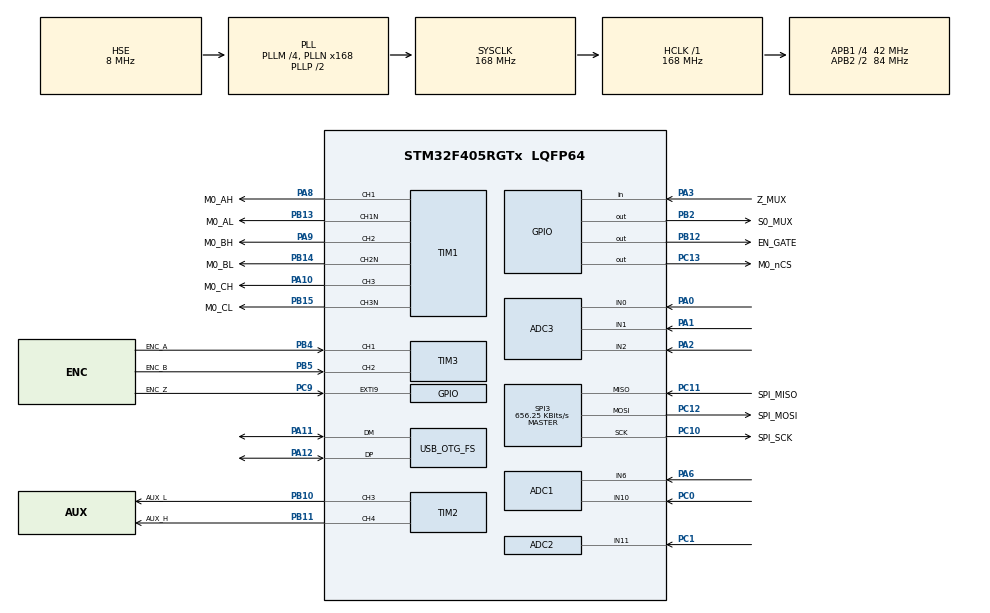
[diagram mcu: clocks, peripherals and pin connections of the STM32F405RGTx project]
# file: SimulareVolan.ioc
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ADC1.Channel-1\#ChannelRegularConversion=ADC_CHANNEL_10
ADC1.Channel-3\#ChannelInjectedConversion=ADC_CHANNEL_10
ADC1.Channel-4\#ChannelInjectedConversion=ADC_CHANNEL_6
ADC1.ExternalTrigInjecConv=ADC_EXTERNALTRIGINJECCONV_T1_TRGO
ADC1.InjNumberOfConversion=2
ADC1.InjectedOffset-3\#ChannelInjectedConversion=0
ADC1.InjectedOffset-4\#ChannelInjectedConversion=0
ADC1.InjectedRank-3\#ChannelInjectedConversion=1
ADC1.InjectedRank-4\#ChannelInjectedConversion=2
ADC1.Mode=ADC_DUALMODE_INJECSIMULT
ADC1.NbrOfConversionFlag=1
ADC1.Rank-1\#ChannelRegularConversion=1
ADC1.SamplingTime-1\#ChannelRegularConversion=ADC_SAMPLETIME_3CYCLES
ADC1.SamplingTime-3\#ChannelInjectedConversion=ADC_SAMPLETIME_15CYCLES
ADC1.SamplingTime-4\#ChannelInjectedConversion=ADC_SAMPLETIME_15CYCLES
ADC1.ScanConvMode=ENABLE
ADC1.master=1
ADC2.Channel-1\#ChannelRegularConversion=ADC_CHANNEL_11
ADC2.Channel-2\#ChannelInjectedConversion=ADC_CHANNEL_11
ADC2.InjNumberOfConversion=1
ADC2.InjectedOffset-2\#ChannelInjectedConversion=0
ADC2.InjectedRank-2\#ChannelInjectedConversion=1
ADC2.Mode=ADC_DUALMODE_INJECSIMULT
ADC2.NbrOfConversionFlag=1
ADC2.Rank-1\#ChannelRegularConversion=1
ADC2.SamplingTime-1\#ChannelRegularConversion=ADC_SAMPLETIME_3CYCLES
ADC2.SamplingTime-2\#ChannelInjectedConversion=ADC_SAMPLETIME_15CYCLES
ADC3.Channel-6\#ChannelInjectedConversion=ADC_CHANNEL_0
ADC3.Channel-7\#ChannelInjectedConversion=ADC_CHANNEL_1
ADC3.Channel-8\#ChannelInjectedConversion=ADC_CHANNEL_2
ADC3.EOCSelection=ADC_EOC_SEQ_CONV
ADC3.ExternalTrigInjecConv=ADC_EXTERNALTRIGINJECCONV_T1_TRGO
ADC3.InjNumberOfConversion=3
ADC3.InjectedOffset-6\#ChannelInjectedConversion=0
ADC3.InjectedOffset-7\#ChannelInjectedConversion=0
ADC3.InjectedOffset-8\#ChannelInjectedConversion=0
ADC3.InjectedRank-6\#ChannelInjectedConversion=1
ADC3.InjectedRank-7\#ChannelInjectedConversion=2
ADC3.InjectedRank-8\#ChannelInjectedConversion=3
ADC3.Mode=ADC_DUALMODE_INJECSIMULT
ADC3.NbrOfConversion=1
ADC3.NbrOfConversionFlag=1
ADC3.SamplingTime-6\#ChannelInjectedConversion=ADC_SAMPLETIME_15CYCLES
ADC3.SamplingTime-7\#ChannelInjectedConversion=ADC_SAMPLETIME_15CYCLES
ADC3.SamplingTime-8\#ChannelInjectedConversion=ADC_SAMPLETIME_15CYCLES
Mcu.Family=STM32F4
Mcu.Name=STM32F405RGTx
Mcu.Package=LQFP64
Mcu.UserConstants=TIM_1_8_PERIOD_CLOCKS,4200;TIM_APB1_CLOCK_HZ,84000000;TIM_APB1_DEADTIME_CLOCKS,40;TIM_APB1_PERIOD_CLOCKS,4096;TIM_1_8_RCR,1;TIM_1_8_DEADTIME_CLOCKS,20;TIM_1_8_CLOCK_HZ,168000000
NVIC.EXTI9_5_IRQn=true\:0\:0\:false\:false\:true\:true\:true\:true
NVIC.OTG_FS_IRQn=true\:1\:0\:true\:false\:true\:false\:true\:true
NVIC.PriorityGroup=NVIC_PRIORITYGROUP_4
NVIC.TIM1_TRG_COM_TIM11_IRQn=true\:0\:0\:false\:false\:true\:true\:true\:true
NVIC.TIM1_UP_TIM10_IRQn=true\:0\:0\:false\:false\:true\:true\:true\:true
NVIC.TIM3_IRQn=true\:0\:0\:false\:false\:true\:true\:true\:true
PA0-WKUP.Signal=ADCx_IN0
PA1.Signal=ADCx_IN1
PA10.GPIO_Label=M0_CH
PA10.Signal=S_TIM1_CH3
PA11.Mode=Device_Only
PA11.Signal=USB_OTG_FS_DM
PA12.Mode=Device_Only
PA12.Signal=USB_OTG_FS_DP
PA13.Mode=Serial_Wire
PA13.Signal=SYS_JTMS-SWDIO
PA14.Mode=Serial_Wire
PA14.Signal=SYS_JTCK-SWCLK
PA2.Signal=ADCx_IN2
PA3.GPIO_Label=Z_MUX
PA3.GPIO_PuPd=GPIO_PULLDOWN
PA3.Signal=GPIO_Input
PA6.Signal=ADCx_IN6
PA8.GPIO_Label=M0_AH
PA8.Signal=S_TIM1_CH1
PA9.GPIO_Label=M0_BH
PA9.Signal=S_TIM1_CH2
PB10.GPIO_Label=AUX_L
PB10.Signal=S_TIM2_CH3
PB11.GPIO_Label=AUX_H
PB11.Signal=S_TIM2_CH4
PB12.GPIO_Label=EN_GATE
PB12.Signal=GPIO_Output
PB13.GPIO_Label=M0_AL
PB13.Mode=PWM Generation1 CH1 CH1N
PB13.Signal=TIM1_CH1N
PB14.GPIO_Label=M0_BL
PB14.Mode=PWM Generation2 CH2 CH2N
PB14.Signal=TIM1_CH2N
PB15.GPIO_Label=M0_CL
PB15.Mode=PWM Generation3 CH3 CH3N
PB15.Signal=TIM1_CH3N
PB2.GPIO_Label=S0_MUX
PB2.Signal=GPIO_Output
PB4.GPIO_Label=ENC_A
PB4.Signal=S_TIM3_CH1
PB5.GPIO_Label=ENC_B
PB5.Signal=S_TIM3_CH2
PC0.Signal=ADCx_IN10
PC1.Signal=ADCx_IN11
PC10.GPIO_Label=SPI_SCK
PC10.Mode=Full_Duplex_Master
PC10.Signal=SPI3_SCK
PC11.GPIO_Label=SPI_MISO
PC11.Mode=Full_Duplex_Master
PC11.Signal=SPI3_MISO
PC12.GPIO_Label=SPI_MOSI
PC12.Mode=Full_Duplex_Master
PC12.Signal=SPI3_MOSI
PC13-ANTI_TAMP.GPIO_Label=M0_nCS
PC13-ANTI_TAMP.Signal=GPIO_Output
PC9.GPIO_Label=ENC_Z
PC9.Signal=GPXTI9
PH0-OSC_IN.Mode=HSE-External-Oscillator
PH0-OSC_IN.Signal=RCC_OSC_IN
PH1-OSC_OUT.Mode=HSE-External-Oscillator
PH1-OSC_OUT.Signal=RCC_OSC_OUT
ProjectManager.HeapSize=0x200
ProjectManager.StackSize=0x400
ProjectManager.TargetToolchain=STM32CubeIDE
RCC.48MHZClocksFreq_Value=48000000
RCC.AHBFreq_Value=168000000
RCC.APB1CLKDivider=RCC_HCLK_DIV4
RCC.APB1Freq_Value=42000000
RCC.APB1TimFreq_Value=84000000
RCC.APB2CLKDivider=RCC_HCLK_DIV2
RCC.APB2Freq_Value=84000000
RCC.APB2TimFreq_Value=168000000
RCC.CortexFreq_Value=168000000
RCC.HCLKFreq_Value=168000000
RCC.HSE_VALUE=8000000
RCC.HSI_VALUE=16000000
RCC.LSE_VALUE=32768
RCC.PLLM=4
RCC.PLLN=168
RCC.PLLQ=7
RCC.SYSCLKFreq_VALUE=168000000
RCC.SYSCLKSource=RCC_SYSCLKSOURCE_PLLCLK
RCC.VCOOutputFreq_Value=336000000
SH.ADCx_IN0.0=ADC3_IN0,IN0
SH.ADCx_IN1.0=ADC3_IN1,IN1
SH.ADCx_IN10.0=ADC1_IN10,IN10
SH.ADCx_IN11.0=ADC2_IN11,IN11
SH.ADCx_IN2.0=ADC3_IN2,IN2
SH.ADCx_IN6.0=ADC1_IN6,IN6
SH.S_TIM1_CH1.0=TIM1_CH1,PWM Generation1 CH1 CH1N
SH.S_TIM1_CH2.0=TIM1_CH2,PWM Generation2 CH2 CH2N
SH.S_TIM1_CH3.0=TIM1_CH3,PWM Generation3 CH3 CH3N
SH.S_TIM2_CH3.0=TIM2_CH3,PWM Generation3 CH3
SH.S_TIM2_CH4.0=TIM2_CH4,PWM Generation4 CH4
SH.S_TIM3_CH1.0=TIM3_CH1,Encoder_Interface
SH.S_TIM3_CH2.0=TIM3_CH2,Encoder_Interface
SPI3.BaudRatePrescaler=SPI_BAUDRATEPRESCALER_64
SPI3.CLKPhase=SPI_PHASE_2EDGE
SPI3.CLKPolarity=SPI_POLARITY_LOW
SPI3.CalculateBaudRate=656.25 KBits/s
SPI3.DataSize=SPI_DATASIZE_16BIT
SPI3.Direction=SPI_DIRECTION_2LINES
SPI3.Mode=SPI_MODE_MASTER
SPI3.VirtualType=VM_MASTER
TIM1.Channel-Output\ Compare4\ No\ Output=TIM_CHANNEL_4
TIM1.Channel-PWM\ Generation1\ CH1\ CH1N=TIM_CHANNEL_1
TIM1.Channel-PWM\ Generation2\ CH2\ CH2N=TIM_CHANNEL_2
TIM1.Channel-PWM\ Generation3\ CH3\ CH3N=TIM_CHANNEL_3
TIM1.CounterMode=TIM_COUNTERMODE_CENTERALIGNED1
TIM1.DeadTime=TIM_1_8_DEADTIME_CLOCKS
TIM1.OC4Preload=ENABLE
TIM1.OCMode_4=TIM_OCMODE_TOGGLE
TIM1.OCMode_PWM-PWM\ Generation1\ CH1\ CH1N=TIM_OCMODE_PWM2
TIM1.OCMode_PWM-PWM\ Generation2\ CH2\ CH2N=TIM_OCMODE_PWM2
TIM1.OCMode_PWM-PWM\ Generation3\ CH3\ CH3N=TIM_OCMODE_PWM2
TIM1.OffStateIDLEMode=TIM_OSSI_ENABLE
TIM1.OffStateRunMode=TIM_OSSR_ENABLE
TIM1.Period=TIM_1_8_PERIOD_CLOCKS
TIM1.Pulse-Output\ Compare4\ No\ Output=0
TIM1.RepetitionCounter=TIM_1_8_RCR
TIM1.TIM_MasterOutputTrigger=TIM_TRGO_OC4REF
TIM1.TIM_MasterSlaveMode=TIM_MASTERSLAVEMODE_DISABLE
TIM2.Channel-PWM\ Generation3\ CH3=TIM_CHANNEL_3
TIM2.Channel-PWM\ Generation4\ CH4=TIM_CHANNEL_4
TIM2.CounterMode=TIM_COUNTERMODE_CENTERALIGNED3
TIM2.OCMode_PWM-PWM\ Generation3\ CH3=TIM_OCMODE_PWM2
TIM2.OCMode_PWM-PWM\ Generation4\ CH4=TIM_OCMODE_PWM2
TIM2.OCPolarity_3=TIM_OCPOLARITY_LOW
TIM2.Period=TIM_APB1_PERIOD_CLOCKS
TIM2.Pulse-PWM\ Generation4\ CH4=TIM_APB1_PERIOD_CLOCKS+1
TIM3.EncoderMode=TIM_ENCODERMODE_TI12
TIM3.IC1Polarity=TIM_ICPOLARITY_FALLING
TIM3.IC2Polarity=TIM_ICPOLARITY_FALLING
USB_DEVICE.CLASS_NAME_FS=CUSTOM_HID
USB_DEVICE.CUSTOM_HID_FS_BINTERVAL=0x1
USB_DEVICE.USBD_CUSTOMHID_OUTREPORT_BUF_SIZE-CUSTOM_HID_FS=64
USB_DEVICE.USBD_CUSTOM_HID_REPORT_DESC_SIZE-CUSTOM_HID_FS=1090
USB_DEVICE.USBD_SELF_POWERED-CUSTOM_HID_FS=0
USB_DEVICE.VirtualMode-CUSTOM_HID_FS=CustomHid
USB_DEVICE.VirtualModeFS=Custom_Hid_FS
USB_OTG_FS.VirtualMode=Device_Only
VP_TIM1_VS_ClockSourceINT.Mode=Internal
VP_TIM1_VS_no_output4.Mode=Output Compare4 No Output
VP_TIM2_VS_ClockSourceINT.Mode=Internal
VP_USB_DEVICE_VS_USB_DEVICE_CUSTOM_HID_FS.Mode=CUSTOM_HID_FS
board=custom

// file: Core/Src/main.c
/* USER CODE BEGIN Header */
/**
  ******************************************************************************
  * @file           : main.c
  * @brief          : Main program body
  ******************************************************************************
  * @attention
  *
  * Copyright (c) 2025 STMicroelectronics.
  * All rights reserved.
  *
  * This software is licensed under terms that can be found in the LICENSE file
  * in the root directory of this software component.
  * If no LICENSE file comes with this software, it is provided AS-IS.
  *
  ******************************************************************************
  */
/* USER CODE END Header */
#include "main.h"
#include "usb_device.h"

/* USER CODE BEGIN Includes */
#include "Wheel.h"
#include "MotorControl.h"
#include "Shifter.h"
#include "Pedals.h"
#include "DRV8301.h"

/* USER CODE END Includes */

ADC_HandleTypeDef hadc1;
ADC_HandleTypeDef hadc2;
ADC_HandleTypeDef hadc3;

SPI_HandleTypeDef hspi3;

TIM_HandleTypeDef htim1;
TIM_HandleTypeDef htim2;
TIM_HandleTypeDef htim3;

/* USER CODE BEGIN PV */

volatile wheelReport reportContainer;

extern USBD_HandleTypeDef hUsbDeviceFS;

uint16_t adc3_buffer[3];

uint16_t drv_ctrl1 = 0;
uint16_t drv_ctrl2 = 0;

/* USER CODE END PV */

void SystemClock_Config(void);
static void MX_GPIO_Init(void);
static void MX_TIM3_Init(void);
static void MX_TIM1_Init(void);
static void MX_ADC1_Init(void);
static void MX_ADC2_Init(void);
static void MX_TIM2_Init(void);
static void MX_ADC3_Init(void);
static void MX_SPI3_Init(void);

int main(void)
{

	/* MCU Configuration--------------------------------------------------------*/

	/* Reset of all peripherals, Initializes the Flash interface and the Systick. */
	HAL_Init();

	/* Configure the system clock */
	SystemClock_Config();

	/* Initialize all configured peripherals */
	MX_GPIO_Init();
	MX_TIM3_Init();
	MX_USB_DEVICE_Init();
	MX_TIM1_Init();
	MX_ADC1_Init();
	MX_ADC2_Init();
	MX_TIM2_Init();
	MX_ADC3_Init();
	MX_SPI3_Init();
	/* USER CODE BEGIN 2 */

	HAL_ADCEx_InjectedStart_IT(&hadc1);  // Enables ADC1_IN6 and ADC1_IN10 injected convs
	HAL_ADCEx_InjectedStart_IT(&hadc2);  // Enables ADC2 injected convs
	HAL_ADCEx_InjectedStart_IT(&hadc3);  // Enables ADC3_IN1, ADC3_IN2, ADC3_IN3 injected convs

	reportContainer.id = 0x01;
	reportContainer.buttons = 0;
	reportContainer.X = 0;
	reportContainer.Y = 0;
	reportContainer.Z = 0;
	reportContainer.RX = 0;
	reportContainer.RY = 0;
	reportContainer.RZ = 0;
	reportContainer.Dial = 0;
	reportContainer.Slider = 0;

	StartEncoder();

	SetupDRV8301();

	SetupMotor();

	DisableSPI3_EnableGPIO();

	/* USER CODE END 2 */

	/* Infinite loop */
	/* USER CODE BEGIN WHILE */

	while (1)
	{
		//HAL_GPIO_WritePin(GPIOC, GPIO_PIN_12, GPIO_PIN_SET);
		UpdateShifter();
		UpdatePedals();
		UpdateWheel();
		USBD_CUSTOM_HID_SendReport(&hUsbDeviceFS, (uint8_t *)&reportContainer, sizeof(reportContainer));
		//HAL_GPIO_WritePin(GPIOC, GPIO_PIN_12, GPIO_PIN_RESET);
		HAL_Delay(1);
		/* USER CODE END WHILE */

	}
}

void SystemClock_Config(void)
{
  RCC_OscInitTypeDef RCC_OscInitStruct = {0};
  RCC_ClkInitTypeDef RCC_ClkInitStruct = {0};

  /** Configure the main internal regulator output voltage
  */
  __HAL_RCC_PWR_CLK_ENABLE();
  __HAL_PWR_VOLTAGESCALING_CONFIG(PWR_REGULATOR_VOLTAGE_SCALE1);

  /** Initializes the RCC Oscillators according to the specified parameters
  * in the RCC_OscInitTypeDef structure.
  */
  RCC_OscInitStruct.OscillatorType = RCC_OSCILLATORTYPE_HSE;
  RCC_OscInitStruct.HSEState = RCC_HSE_ON;
  RCC_OscInitStruct.PLL.PLLState = RCC_PLL_ON;
  RCC_OscInitStruct.PLL.PLLSource = RCC_PLLSOURCE_HSE;
  RCC_OscInitStruct.PLL.PLLM = 4;
  RCC_OscInitStruct.PLL.PLLN = 168;
  RCC_OscInitStruct.PLL.PLLP = RCC_PLLP_DIV2;
  RCC_OscInitStruct.PLL.PLLQ = 7;
  if (HAL_RCC_OscConfig(&RCC_OscInitStruct) != HAL_OK)
  {
    Error_Handler();
  }

  /** Initializes the CPU, AHB and APB buses clocks
  */
  RCC_ClkInitStruct.ClockType = RCC_CLOCKTYPE_HCLK|RCC_CLOCKTYPE_SYSCLK
                              |RCC_CLOCKTYPE_PCLK1|RCC_CLOCKTYPE_PCLK2;
  RCC_ClkInitStruct.SYSCLKSource = RCC_SYSCLKSOURCE_PLLCLK;
  RCC_ClkInitStruct.AHBCLKDivider = RCC_SYSCLK_DIV1;
  RCC_ClkInitStruct.APB1CLKDivider = RCC_HCLK_DIV4;
  RCC_ClkInitStruct.APB2CLKDivider = RCC_HCLK_DIV2;

  if (HAL_RCC_ClockConfig(&RCC_ClkInitStruct, FLASH_LATENCY_5) != HAL_OK)
  {
    Error_Handler();
  }
}

static void MX_ADC1_Init(void)
{

  ADC_MultiModeTypeDef multimode = {0};
  ADC_ChannelConfTypeDef sConfig = {0};
  ADC_InjectionConfTypeDef sConfigInjected = {0};

  /** Configure the global features of the ADC (Clock, Resolution, Data Alignment and number of conversion)
  */
  hadc1.Instance = ADC1;
  hadc1.Init.ClockPrescaler = ADC_CLOCK_SYNC_PCLK_DIV4;
  hadc1.Init.Resolution = ADC_RESOLUTION_12B;
  hadc1.Init.ScanConvMode = ENABLE;
  hadc1.Init.ContinuousConvMode = DISABLE;
  hadc1.Init.DiscontinuousConvMode = DISABLE;
  hadc1.Init.ExternalTrigConvEdge = ADC_EXTERNALTRIGCONVEDGE_NONE;
  hadc1.Init.ExternalTrigConv = ADC_SOFTWARE_START;
  hadc1.Init.DataAlign = ADC_DATAALIGN_RIGHT;
  hadc1.Init.NbrOfConversion = 1;
  hadc1.Init.DMAContinuousRequests = DISABLE;
  hadc1.Init.EOCSelection = ADC_EOC_SINGLE_CONV;
  if (HAL_ADC_Init(&hadc1) != HAL_OK)
  {
    Error_Handler();
  }

  /** Configure the ADC multi-mode
  */
  multimode.Mode = ADC_DUALMODE_INJECSIMULT;
  multimode.TwoSamplingDelay = ADC_TWOSAMPLINGDELAY_5CYCLES;
  if (HAL_ADCEx_MultiModeConfigChannel(&hadc1, &multimode) != HAL_OK)
  {
    Error_Handler();
  }

  /** Configure for the selected ADC regular channel its corresponding rank in the sequencer and its sample time.
  */
  sConfig.Channel = ADC_CHANNEL_10;
  sConfig.Rank = 1;
  sConfig.SamplingTime = ADC_SAMPLETIME_3CYCLES;
  if (HAL_ADC_ConfigChannel(&hadc1, &sConfig) != HAL_OK)
  {
    Error_Handler();
  }

  /** Configures for the selected ADC injected channel its corresponding rank in the sequencer and its sample time
  */
  sConfigInjected.InjectedChannel = ADC_CHANNEL_10;
  sConfigInjected.InjectedRank = 1;
  sConfigInjected.InjectedNbrOfConversion = 2;
  sConfigInjected.InjectedSamplingTime = ADC_SAMPLETIME_15CYCLES;
  sConfigInjected.ExternalTrigInjecConvEdge = ADC_EXTERNALTRIGINJECCONVEDGE_RISING;
  sConfigInjected.ExternalTrigInjecConv = ADC_EXTERNALTRIGINJECCONV_T1_TRGO;
  sConfigInjected.AutoInjectedConv = DISABLE;
  sConfigInjected.InjectedDiscontinuousConvMode = DISABLE;
  sConfigInjected.InjectedOffset = 0;
  if (HAL_ADCEx_InjectedConfigChannel(&hadc1, &sConfigInjected) != HAL_OK)
  {
    Error_Handler();
  }

  /** Configures for the selected ADC injected channel its corresponding rank in the sequencer and its sample time
  */
  sConfigInjected.InjectedChannel = ADC_CHANNEL_6;
  sConfigInjected.InjectedRank = 2;
  if (HAL_ADCEx_InjectedConfigChannel(&hadc1, &sConfigInjected) != HAL_OK)
  {
    Error_Handler();
  }

}

static void MX_ADC2_Init(void)
{

  ADC_ChannelConfTypeDef sConfig = {0};
  ADC_InjectionConfTypeDef sConfigInjected = {0};

  /** Configure the global features of the ADC (Clock, Resolution, Data Alignment and number of conversion)
  */
  hadc2.Instance = ADC2;
  hadc2.Init.ClockPrescaler = ADC_CLOCK_SYNC_PCLK_DIV4;
  hadc2.Init.Resolution = ADC_RESOLUTION_12B;
  hadc2.Init.ScanConvMode = DISABLE;
  hadc2.Init.ContinuousConvMode = DISABLE;
  hadc2.Init.DiscontinuousConvMode = DISABLE;
  hadc2.Init.DataAlign = ADC_DATAALIGN_RIGHT;
  hadc2.Init.NbrOfConversion = 1;
  hadc2.Init.DMAContinuousRequests = DISABLE;
  hadc2.Init.EOCSelection = ADC_EOC_SINGLE_CONV;
  if (HAL_ADC_Init(&hadc2) != HAL_OK)
  {
    Error_Handler();
  }

  /** Configure for the selected ADC regular channel its corresponding rank in the sequencer and its sample time.
  */
  sConfig.Channel = ADC_CHANNEL_11;
  sConfig.Rank = 1;
  sConfig.SamplingTime = ADC_SAMPLETIME_3CYCLES;
  if (HAL_ADC_ConfigChannel(&hadc2, &sConfig) != HAL_OK)
  {
    Error_Handler();
  }

  /** Configures for the selected ADC injected channel its corresponding rank in the sequencer and its sample time
  */
  sConfigInjected.InjectedChannel = ADC_CHANNEL_11;
  sConfigInjected.InjectedRank = 1;
  sConfigInjected.InjectedNbrOfConversion = 1;
  sConfigInjected.InjectedSamplingTime = ADC_SAMPLETIME_15CYCLES;
  sConfigInjected.AutoInjectedConv = ENABLE;
  sConfigInjected.InjectedDiscontinuousConvMode = DISABLE;
  sConfigInjected.InjectedOffset = 0;
  if (HAL_ADCEx_InjectedConfigChannel(&hadc2, &sConfigInjected) != HAL_OK)
  {
    Error_Handler();
  }

}

static void MX_ADC3_Init(void)
{

  ADC_InjectionConfTypeDef sConfigInjected = {0};

  /** Configure the global features of the ADC (Clock, Resolution, Data Alignment and number of conversion)
  */
  hadc3.Instance = ADC3;
  hadc3.Init.ClockPrescaler = ADC_CLOCK_SYNC_PCLK_DIV4;
  hadc3.Init.Resolution = ADC_RESOLUTION_12B;
  hadc3.Init.ScanConvMode = ENABLE;
  hadc3.Init.ContinuousConvMode = DISABLE;
  hadc3.Init.DiscontinuousConvMode = DISABLE;
  hadc3.Init.ExternalTrigConvEdge = ADC_EXTERNALTRIGCONVEDGE_NONE;
  hadc3.Init.ExternalTrigConv = ADC_SOFTWARE_START;
  hadc3.Init.DataAlign = ADC_DATAALIGN_RIGHT;
  hadc3.Init.NbrOfConversion = 1;
  hadc3.Init.DMAContinuousRequests = DISABLE;
  hadc3.Init.EOCSelection = ADC_EOC_SEQ_CONV;
  if (HAL_ADC_Init(&hadc3) != HAL_OK)
  {
    Error_Handler();
  }

  /** Configures for the selected ADC injected channel its corresponding rank in the sequencer and its sample time
  */
  sConfigInjected.InjectedChannel = ADC_CHANNEL_0;
  sConfigInjected.InjectedRank = 1;
  sConfigInjected.InjectedNbrOfConversion = 3;
  sConfigInjected.InjectedSamplingTime = ADC_SAMPLETIME_15CYCLES;
  sConfigInjected.ExternalTrigInjecConvEdge = ADC_EXTERNALTRIGINJECCONVEDGE_RISING;
  sConfigInjected.ExternalTrigInjecConv = ADC_EXTERNALTRIGINJECCONV_T1_TRGO;
  sConfigInjected.AutoInjectedConv = DISABLE;
  sConfigInjected.InjectedDiscontinuousConvMode = DISABLE;
  sConfigInjected.InjectedOffset = 0;
  if (HAL_ADCEx_InjectedConfigChannel(&hadc3, &sConfigInjected) != HAL_OK)
  {
    Error_Handler();
  }

  /** Configures for the selected ADC injected channel its corresponding rank in the sequencer and its sample time
  */
  sConfigInjected.InjectedChannel = ADC_CHANNEL_1;
  sConfigInjected.InjectedRank = 2;
  if (HAL_ADCEx_InjectedConfigChannel(&hadc3, &sConfigInjected) != HAL_OK)
  {
    Error_Handler();
  }

  /** Configures for the selected ADC injected channel its corresponding rank in the sequencer and its sample time
  */
  sConfigInjected.InjectedChannel = ADC_CHANNEL_2;
  sConfigInjected.InjectedRank = 3;
  if (HAL_ADCEx_InjectedConfigChannel(&hadc3, &sConfigInjected) != HAL_OK)
  {
    Error_Handler();
  }

}

static void MX_SPI3_Init(void)
{

  /* SPI3 parameter configuration*/
  hspi3.Instance = SPI3;
  hspi3.Init.Mode = SPI_MODE_MASTER;
  hspi3.Init.Direction = SPI_DIRECTION_2LINES;
  hspi3.Init.DataSize = SPI_DATASIZE_16BIT;
  hspi3.Init.CLKPolarity = SPI_POLARITY_LOW;
  hspi3.Init.CLKPhase = SPI_PHASE_2EDGE;
  hspi3.Init.NSS = SPI_NSS_SOFT;
  hspi3.Init.BaudRatePrescaler = SPI_BAUDRATEPRESCALER_64;
  hspi3.Init.FirstBit = SPI_FIRSTBIT_MSB;
  hspi3.Init.TIMode = SPI_TIMODE_DISABLE;
  hspi3.Init.CRCCalculation = SPI_CRCCALCULATION_DISABLE;
  hspi3.Init.CRCPolynomial = 10;
  if (HAL_SPI_Init(&hspi3) != HAL_OK)
  {
    Error_Handler();
  }

}

static void MX_TIM1_Init(void)
{

  TIM_ClockConfigTypeDef sClockSourceConfig = {0};
  TIM_MasterConfigTypeDef sMasterConfig = {0};
  TIM_OC_InitTypeDef sConfigOC = {0};
  TIM_BreakDeadTimeConfigTypeDef sBreakDeadTimeConfig = {0};

  htim1.Instance = TIM1;
  htim1.Init.Prescaler = 0;
  htim1.Init.CounterMode = TIM_COUNTERMODE_CENTERALIGNED1;
  htim1.Init.Period = TIM_1_8_PERIOD_CLOCKS;
  htim1.Init.ClockDivision = TIM_CLOCKDIVISION_DIV1;
  htim1.Init.RepetitionCounter = TIM_1_8_RCR;
  htim1.Init.AutoReloadPreload = TIM_AUTORELOAD_PRELOAD_DISABLE;
  if (HAL_TIM_Base_Init(&htim1) != HAL_OK)
  {
    Error_Handler();
  }
  sClockSourceConfig.ClockSource = TIM_CLOCKSOURCE_INTERNAL;
  if (HAL_TIM_ConfigClockSource(&htim1, &sClockSourceConfig) != HAL_OK)
  {
    Error_Handler();
  }
  if (HAL_TIM_PWM_Init(&htim1) != HAL_OK)
  {
    Error_Handler();
  }
  if (HAL_TIM_OC_Init(&htim1) != HAL_OK)
  {
    Error_Handler();
  }
  sMasterConfig.MasterOutputTrigger = TIM_TRGO_OC4REF;
  sMasterConfig.MasterSlaveMode = TIM_MASTERSLAVEMODE_DISABLE;
  if (HAL_TIMEx_MasterConfigSynchronization(&htim1, &sMasterConfig) != HAL_OK)
  {
    Error_Handler();
  }
  sConfigOC.OCMode = TIM_OCMODE_PWM2;
  sConfigOC.Pulse = 0;
  sConfigOC.OCPolarity = TIM_OCPOLARITY_HIGH;
  sConfigOC.OCNPolarity = TIM_OCNPOLARITY_HIGH;
  sConfigOC.OCFastMode = TIM_OCFAST_DISABLE;
  sConfigOC.OCIdleState = TIM_OCIDLESTATE_RESET;
  sConfigOC.OCNIdleState = TIM_OCNIDLESTATE_RESET;
  if (HAL_TIM_PWM_ConfigChannel(&htim1, &sConfigOC, TIM_CHANNEL_1) != HAL_OK)
  {
    Error_Handler();
  }
  if (HAL_TIM_PWM_ConfigChannel(&htim1, &sConfigOC, TIM_CHANNEL_2) != HAL_OK)
  {
    Error_Handler();
  }
  if (HAL_TIM_PWM_ConfigChannel(&htim1, &sConfigOC, TIM_CHANNEL_3) != HAL_OK)
  {
    Error_Handler();
  }
  sConfigOC.OCMode = TIM_OCMODE_TOGGLE;
  if (HAL_TIM_OC_ConfigChannel(&htim1, &sConfigOC, TIM_CHANNEL_4) != HAL_OK)
  {
    Error_Handler();
  }
  __HAL_TIM_ENABLE_OCxPRELOAD(&htim1, TIM_CHANNEL_4);
  sBreakDeadTimeConfig.OffStateRunMode = TIM_OSSR_ENABLE;
  sBreakDeadTimeConfig.OffStateIDLEMode = TIM_OSSI_ENABLE;
  sBreakDeadTimeConfig.LockLevel = TIM_LOCKLEVEL_OFF;
  sBreakDeadTimeConfig.DeadTime = TIM_1_8_DEADTIME_CLOCKS;
  sBreakDeadTimeConfig.BreakState = TIM_BREAK_DISABLE;
  sBreakDeadTimeConfig.BreakPolarity = TIM_BREAKPOLARITY_HIGH;
  sBreakDeadTimeConfig.AutomaticOutput = TIM_AUTOMATICOUTPUT_DISABLE;
  if (HAL_TIMEx_ConfigBreakDeadTime(&htim1, &sBreakDeadTimeConfig) != HAL_OK)
  {
    Error_Handler();
  }
  HAL_TIM_MspPostInit(&htim1);

}

static void MX_TIM2_Init(void)
{

  TIM_ClockConfigTypeDef sClockSourceConfig = {0};
  TIM_MasterConfigTypeDef sMasterConfig = {0};
  TIM_OC_InitTypeDef sConfigOC = {0};

  htim2.Instance = TIM2;
  htim2.Init.Prescaler = 0;
  htim2.Init.CounterMode = TIM_COUNTERMODE_CENTERALIGNED3;
  htim2.Init.Period = TIM_APB1_PERIOD_CLOCKS;
  htim2.Init.ClockDivision = TIM_CLOCKDIVISION_DIV1;
  htim2.Init.AutoReloadPreload = TIM_AUTORELOAD_PRELOAD_DISABLE;
  if (HAL_TIM_Base_Init(&htim2) != HAL_OK)
  {
    Error_Handler();
  }
  sClockSourceConfig.ClockSource = TIM_CLOCKSOURCE_INTERNAL;
  if (HAL_TIM_ConfigClockSource(&htim2, &sClockSourceConfig) != HAL_OK)
  {
    Error_Handler();
  }
  if (HAL_TIM_PWM_Init(&htim2) != HAL_OK)
  {
    Error_Handler();
  }
  sMasterConfig.MasterOutputTrigger = TIM_TRGO_RESET;
  sMasterConfig.MasterSlaveMode = TIM_MASTERSLAVEMODE_DISABLE;
  if (HAL_TIMEx_MasterConfigSynchronization(&htim2, &sMasterConfig) != HAL_OK)
  {
    Error_Handler();
  }
  sConfigOC.OCMode = TIM_OCMODE_PWM2;
  sConfigOC.Pulse = 0;
  sConfigOC.OCPolarity = TIM_OCPOLARITY_LOW;
  sConfigOC.OCFastMode = TIM_OCFAST_DISABLE;
  if (HAL_TIM_PWM_ConfigChannel(&htim2, &sConfigOC, TIM_CHANNEL_3) != HAL_OK)
  {
    Error_Handler();
  }
  sConfigOC.Pulse = TIM_APB1_PERIOD_CLOCKS+1;
  sConfigOC.OCPolarity = TIM_OCPOLARITY_HIGH;
  if (HAL_TIM_PWM_ConfigChannel(&htim2, &sConfigOC, TIM_CHANNEL_4) != HAL_OK)
  {
    Error_Handler();
  }
  HAL_TIM_MspPostInit(&htim2);

}

static void MX_TIM3_Init(void)
{

  TIM_Encoder_InitTypeDef sConfig = {0};
  TIM_MasterConfigTypeDef sMasterConfig = {0};

  htim3.Instance = TIM3;
  htim3.Init.Prescaler = 0;
  htim3.Init.CounterMode = TIM_COUNTERMODE_UP;
  htim3.Init.Period = 65535;
  htim3.Init.ClockDivision = TIM_CLOCKDIVISION_DIV1;
  htim3.Init.AutoReloadPreload = TIM_AUTORELOAD_PRELOAD_DISABLE;
  sConfig.EncoderMode = TIM_ENCODERMODE_TI12;
  sConfig.IC1Polarity = TIM_ICPOLARITY_FALLING;
  sConfig.IC1Selection = TIM_ICSELECTION_DIRECTTI;
  sConfig.IC1Prescaler = TIM_ICPSC_DIV1;
  sConfig.IC1Filter = 0;
  sConfig.IC2Polarity = TIM_ICPOLARITY_FALLING;
  sConfig.IC2Selection = TIM_ICSELECTION_DIRECTTI;
  sConfig.IC2Prescaler = TIM_ICPSC_DIV1;
  sConfig.IC2Filter = 0;
  if (HAL_TIM_Encoder_Init(&htim3, &sConfig) != HAL_OK)
  {
    Error_Handler();
  }
  sMasterConfig.MasterOutputTrigger = TIM_TRGO_RESET;
  sMasterConfig.MasterSlaveMode = TIM_MASTERSLAVEMODE_DISABLE;
  if (HAL_TIMEx_MasterConfigSynchronization(&htim3, &sMasterConfig) != HAL_OK)
  {
    Error_Handler();
  }

}

static void MX_GPIO_Init(void)
{
  GPIO_InitTypeDef GPIO_InitStruct = {0};

  /* GPIO Ports Clock Enable */
  __HAL_RCC_GPIOC_CLK_ENABLE();
  __HAL_RCC_GPIOH_CLK_ENABLE();
  __HAL_RCC_GPIOA_CLK_ENABLE();
  __HAL_RCC_GPIOB_CLK_ENABLE();

  /*Configure GPIO pin Output Level */
  HAL_GPIO_WritePin(M0_nCS_GPIO_Port, M0_nCS_Pin, GPIO_PIN_RESET);

  /*Configure GPIO pin Output Level */
  HAL_GPIO_WritePin(GPIOB, S0_MUX_Pin|EN_GATE_Pin, GPIO_PIN_RESET);

  /*Configure GPIO pin : M0_nCS_Pin */
  GPIO_InitStruct.Pin = M0_nCS_Pin;
  GPIO_InitStruct.Mode = GPIO_MODE_OUTPUT_PP;
  GPIO_InitStruct.Pull = GPIO_NOPULL;
  GPIO_InitStruct.Speed = GPIO_SPEED_FREQ_LOW;
  HAL_GPIO_Init(M0_nCS_GPIO_Port, &GPIO_InitStruct);

  /*Configure GPIO pin : Z_MUX_Pin */
  GPIO_InitStruct.Pin = Z_MUX_Pin;
  GPIO_InitStruct.Mode = GPIO_MODE_INPUT;
  GPIO_InitStruct.Pull = GPIO_PULLDOWN;
  HAL_GPIO_Init(Z_MUX_GPIO_Port, &GPIO_InitStruct);

  /*Configure GPIO pins : S0_MUX_Pin EN_GATE_Pin */
  GPIO_InitStruct.Pin = S0_MUX_Pin|EN_GATE_Pin;
  GPIO_InitStruct.Mode = GPIO_MODE_OUTPUT_PP;
  GPIO_InitStruct.Pull = GPIO_NOPULL;
  GPIO_InitStruct.Speed = GPIO_SPEED_FREQ_LOW;
  HAL_GPIO_Init(GPIOB, &GPIO_InitStruct);

  /*Configure GPIO pin : ENC_Z_Pin */
  GPIO_InitStruct.Pin = ENC_Z_Pin;
  GPIO_InitStruct.Mode = GPIO_MODE_IT_RISING;
  GPIO_InitStruct.Pull = GPIO_NOPULL;
  HAL_GPIO_Init(ENC_Z_GPIO_Port, &GPIO_InitStruct);

  /* EXTI interrupt init*/
  HAL_NVIC_SetPriority(EXTI9_5_IRQn, 0, 0);
  HAL_NVIC_EnableIRQ(EXTI9_5_IRQn);

}

/* USER CODE BEGIN 4 */
void DisableSPI3_EnableGPIO()
{
	HAL_SPI_DeInit(&hspi3);

	GPIO_InitTypeDef GPIO_InitStruct = {0};

	__HAL_RCC_GPIOC_CLK_ENABLE();

	GPIO_InitStruct.Pin = GPIO_PIN_10 | GPIO_PIN_11 | GPIO_PIN_12;
	GPIO_InitStruct.Mode = GPIO_MODE_OUTPUT_PP;
	GPIO_InitStruct.Pull = GPIO_NOPULL;
	GPIO_InitStruct.Speed = GPIO_SPEED_FREQ_LOW;
	HAL_GPIO_Init(GPIOC, &GPIO_InitStruct);
}
/* USER CODE END 4 */

void Error_Handler(void)
{
  __disable_irq();
  while (1)
  {
  }
}
